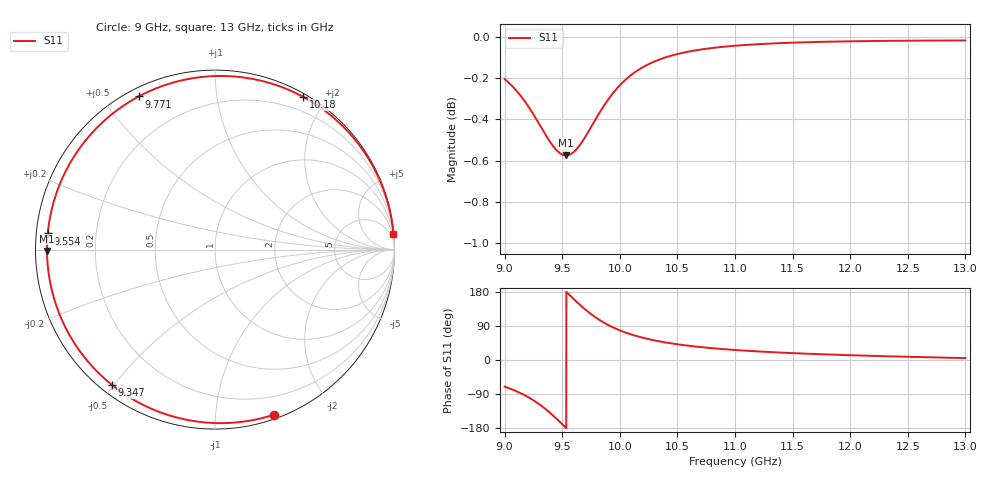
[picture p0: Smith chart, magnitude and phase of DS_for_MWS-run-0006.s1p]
! TOUCHSTONE file generated by CST DESIGN STUDIO
! Date and time: Tue Feb  4 12:49:03 2025
! Project name: C:\Work\MatlabApps\UnitCellOptimizationMatlab\CST\unitcell.cst
! Tree item: Tasks\Sweep1\SPara1\S-Parameters
! Header version: 2024
! Port assignment regex: !\s*Touchstone port\s*([0-9]+)\s*=\s*(CST MWS port|CST DES external port|CST DES block port)\s*(.+)\s* \(\"(.*)\"\)(\s*mode\s*([0-9]+))?.*
! Touchstone port assignment:
! Touchstone port 1 = CST DES external port 1 ("")
# GHz S MA R 50
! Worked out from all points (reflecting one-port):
!   4001 points, 9 GHz to 13 GHz, reference 50 ohm
!   lowest |S11| = -0.6 dB at 9.534 GHz (marker M1), VSWR 30.24, Z = 1.65 - j0.204 ohm
!   phase of S11 starts at -70 deg and turns -285 deg over the sweep
!   S11 on the Smith chart (normalised r, x): 9 GHz: 0.04, -1.41; 9.347 GHz: 0.03, -0.49; 9.554 GHz: 0.03, +0.05; 9.771 GHz: 0.03, +0.62; 10.18 GHz: 0.03, +1.73; 13 GHz: 0, +23
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9  0.9769 -70.5
9.097  0.9709 -81.8
9.204  0.9622 -97.9
9.279  0.9548 -112.1
9.347  0.9477 -127.4
9.419  0.941 -146.0
9.461  0.9381 -157.9
9.5  0.9364 -169.4
9.534  0.936 -179.5
9.554  0.9361 174.5
9.608  0.9382 158.5
9.669  0.9428 141.4
9.72  0.9478 128.3
9.771  0.9531 116.5
9.819  0.9581 106.5
9.872  0.9633 96.9
9.931  0.9684 87.5
10  0.9734 78.2
10.088  0.9785 68.5
10.183  0.9827 60.0
10.328  0.9872 50.1
10.5  0.9906 41.5
10.721  0.9933 33.5
11  0.9952 26.4
11.5  0.9969 18.1
12  0.9977 12.6
12.5  0.9981 8.5
13  0.9982 5.0
